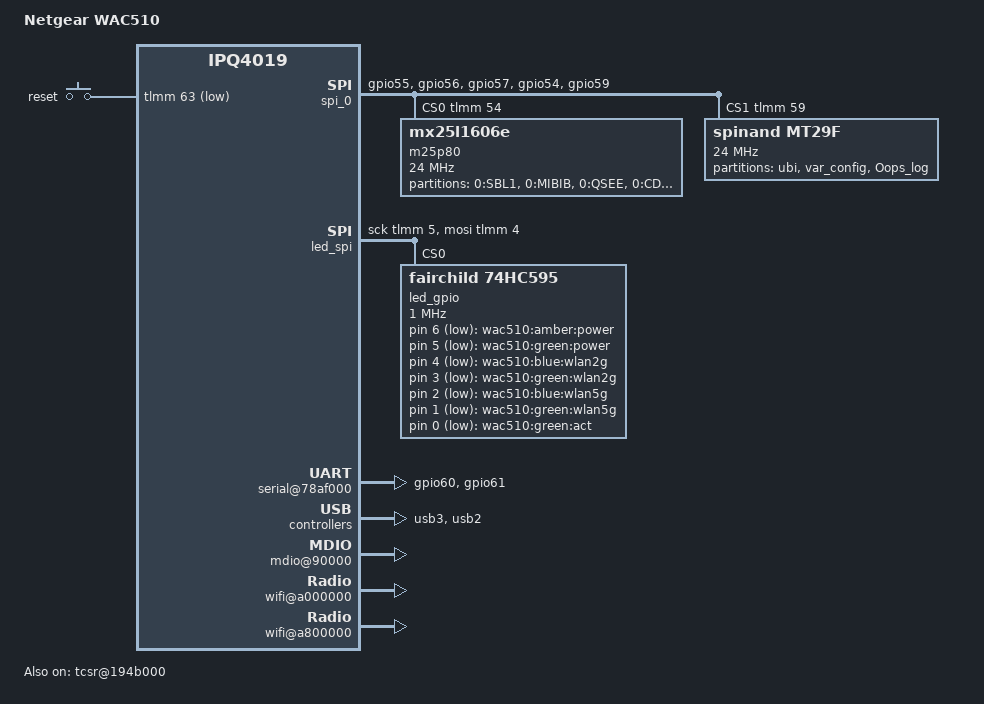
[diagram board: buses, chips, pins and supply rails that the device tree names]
/* Copyright (c) 2015, The Linux Foundation. All rights reserved.
 * Copyright (c) 2018, Robert Marko <robimarko@gmail.com>
 *
 * Permission to use, copy, modify, and/or distribute this software for any
 * purpose with or without fee is hereby granted, provided that the above
 * copyright notice and this permission notice appear in all copies.
 *
 * THE SOFTWARE IS PROVIDED "AS IS" AND THE AUTHOR DISCLAIMS ALL WARRANTIES
 * WITH REGARD TO THIS SOFTWARE INCLUDING ALL IMPLIED WARRANTIES OF
 * MERCHANTABILITY AND FITNESS. IN NO EVENT SHALL THE AUTHOR BE LIABLE FOR
 * ANY SPECIAL, DIRECT, INDIRECT, OR CONSEQUENTIAL DAMAGES OR ANY DAMAGES
 * WHATSOEVER RESULTING FROM LOSS OF USE, DATA OR PROFITS, WHETHER IN AN
 * ACTION OF CONTRACT, NEGLIGENCE OR OTHER TORTIOUS ACTION, ARISING OUT OF
 * OR IN CONNECTION WITH THE USE OR PERFORMANCE OF THIS SOFTWARE.
 *
 */
 
#include "qcom-ipq4019.dtsi"
#include "qcom-ipq4019-bus.dtsi"
#include <dt-bindings/gpio/gpio.h>
#include <dt-bindings/input/input.h>
#include <dt-bindings/soc/qcom,tcsr.h>

/ {
	model = "Netgear WAC510";
	compatible = "netgear,wac510", "qcom,ipq4019";

	reserved-memory {
		#address-cells = <1>;
		#size-cells = <1>;
		ranges;

		rsvd1@87000000 {
			/* Reserved for other subsystem */
			reg = <0x87000000 0x500000>;
			no-map;
		};
		wifi_dump@87500000 {
			reg = <0x87500000 0x600000>;
			no-map;
		};
		rsvd2@87B00000 {
			/* Reserved for other subsystem */
			reg = <0x87B00000 0x500000>;
			no-map;
		};
	};

	soc {
		tcsr@194b000 {
			/* select hostmode */
			compatible = "qcom,tcsr";
			reg = <0x194b000 0x100>;
			qcom,usb-hsphy-mode-select = <TCSR_USB_HSPHY_HOST_MODE>;
			status = "ok";
		};

		ess_tcsr@1953000 {
			compatible = "qcom,tcsr";
			reg = <0x1953000 0x1000>;
			qcom,ess-interface-select = <TCSR_ESS_PSGMII>;
		};

		tcsr@1949000 {
			compatible = "qcom,tcsr";
			reg = <0x1949000 0x100>;
			qcom,wifi_glb_cfg = <TCSR_WIFI_GLB_CFG>;
		};

		tcsr@1957000 {
			compatible = "qcom,tcsr";
			reg = <0x1957000 0x100>;
			qcom,wifi_noc_memtype_m0_m2 = <TCSR_WIFI_NOC_MEMTYPE_M0_M2>;
		};

		pinctrl@1000000 {
			serial_pins: serial_pinmux {
				mux {
					pins = "gpio60", "gpio61";
					function = "blsp_uart0";
					bias-disable;
				};
			};

			spi_0_pins: spi_0_pinmux {
				pinmux {
					function = "blsp_spi0";
					pins = "gpio55", "gpio56", "gpio57";
				};
				pinmux_cs {
					function = "gpio";
					pins = "gpio54", "gpio59";
				};
				pinconf {
					pins = "gpio55", "gpio56", "gpio57";
					drive-strength = <12>;
					bias-disable;
				};
				pinconf_cs {
					pins = "gpio54", "gpio59";
					drive-strength = <2>;
					bias-disable;
					output-high;
				};
			};
		};

		blsp_dma: dma@7884000 {
			status = "ok";
		};

		spi_0: spi@78b5000 {
			pinctrl-0 = <&spi_0_pins>;
			pinctrl-names = "default";
			cs-gpios = <&tlmm 54 0>, <&tlmm 59 0>;
			status = "ok";

			mx25l25635e@0 {
				status = "disabled";
			};

			m25p80@0 {
				#address-cells = <1>;
				#size-cells = <0>;
				reg = <0>;
				compatible = "mx25l1606e", "n25q128a11";
				linux,modalias = "m25p80", "mx25l1606e", "n25q128a11";
				spi-max-frequency = <24000000>;

				partitions {
					compatible = "fixed-partitions";
					#address-cells = <1>;
					#size-cells = <1>;

					partition0@0 {
						label = "0:SBL1";
						reg = <0x00000000 0x00040000>;
						read-only;
					};
					partition1@40000 {
						label = "0:MIBIB";
						reg = <0x00040000 0x00020000>;
						read-only;
					};
					partition2@60000 {
						label = "0:QSEE";
						reg = <0x00060000 0x00060000>;
						read-only;
					};
					partition3@c0000 {
						label = "0:CDT";
						reg = <0x000c0000 0x00010000>;
						read-only;
					};
					partition4@d0000 {
						label = "0:DDRPARAMS";
						reg = <0x000d0000 0x00010000>;
						read-only;
					};
					partition5@e0000 {
						label = "0:APPSBLENV"; /* uboot env*/
						reg = <0x000e0000 0x00010000>;
						read-only;
					};
					partition5@f0000 {
						label = "0:APPSBL"; /* uboot */
						reg = <0x000f0000 0x00080000>;
						read-only;
					};
					partition5@1e0000 {
						label = "0:MANUDATA";
						reg = <0x001e0000 0x00010000>;
						read-only;
					};
					partition5@1f0000 {
						label = "0:ART";
						reg = <0x001f0000 0x00010000>;
						read-only;
					};
				};
			};

			mt29f@1 {
				status = "ok";
				#address-cells = <1>;
				#size-cells = <0>;
				compatible = "spinand,mt29f", "w25n01gv";
				reg = <1>;
				spi-max-frequency = <24000000>;
				partitions {
					compatible = "fixed-partitions";
					#address-cells = <1>;
					#size-cells = <1>;

					partition0@0 {
						label = "ubi";
						reg = <0x00000000 0x07000000>;
					};
					partition1@7000000 {
						label = "var_config";
						reg = <0x07000000 0x00f00000>;
						read-only;
					};
					partition2@7f00000 {
						label = "Oops_log";
						reg = <0x07f00000 0x000c0000>;
						read-only;
					};
				};
			};
		};

		led_spi {
			compatible = "spi-gpio";
			#address-cells = <1>;
			ranges;

			gpio-sck = <&tlmm 5 GPIO_ACTIVE_HIGH>;
			gpio-mosi = <&tlmm 4 GPIO_ACTIVE_HIGH>;
			num-chipselects = <0>;

			led_gpio: led_gpio@0 {
				compatible = "fairchild,74hc595";
				reg = <0>;
				gpio-controller;
				#gpio-cells = <2>;
				registers-number = <1>;
				spi-max-frequency = <1000000>;
			};
		};

		gpio-leds {
			compatible = "gpio-leds";

			power_amber: power_amber {
				label = "wac510:amber:power";
				gpios = <&led_gpio 6 GPIO_ACTIVE_LOW>;
			};

			power_green: power_green {
				label = "wac510:green:power";
				gpios = <&led_gpio 5 GPIO_ACTIVE_LOW>;
			};

			wlan2g_blue {
				label = "wac510:blue:wlan2g";
				gpios = <&led_gpio 4 GPIO_ACTIVE_LOW>;
			};

			wlan2g_green {
				label = "wac510:green:wlan2g";
				gpios = <&led_gpio 3 GPIO_ACTIVE_LOW>;
			};

			wlan5g_blue {
				label = "wac510:blue:wlan5g";
				gpios = <&led_gpio 2 GPIO_ACTIVE_LOW>;
			};

			wlan5g_green {
				label = "wac510:green:wlan5g";
				gpios = <&led_gpio 1 GPIO_ACTIVE_LOW>;
			};

			act_green {
				label = "wac510:green:act";
				gpios = <&led_gpio 0 GPIO_ACTIVE_LOW>;
			};
		};

		gpio-keys {
		compatible = "gpio-keys";

		reset {
			label = "reset";
			gpios = <&tlmm 63 GPIO_ACTIVE_LOW>;
			linux,code = <KEY_RESTART>;
			};
		};

		serial@78af000 {
			pinctrl-0 = <&serial_pins>;
			pinctrl-names = "default";
			status = "ok";
		};

		cryptobam: dma@8e04000 {
			status = "ok";
		};

		crypto@8e3a000 {
			status = "ok";
		};

		watchdog@b017000 {
			status = "ok";
		};

		usb3_ss_phy: ssphy@9a000 {
			status = "ok";
		};

		usb3_hs_phy: hsphy@a6000 {
			status = "ok";
		};

		usb3: usb3@8af8800 {
			status = "ok";
		};

		usb2_hs_phy: hsphy@a8000 {
			status = "ok";
		};

		usb2: usb2@60f8800 {
			status = "ok";
		};

		mdio@90000 {
			status = "okay";
		};

		ess-switch@c000000 {
			status = "okay";
		};

		ess-psgmii@98000 {
			status = "okay";
		};

		edma@c080000 {
			status = "okay";
		};

		wifi@a000000 {
			status = "okay";
			qcom,ath10k-calibration-variant = "Netgear-WAC510";
		};

		wifi@a800000 {
			status = "okay";
			qcom,ath10k-calibration-variant = "Netgear-WAC510";
		};
	};
};
